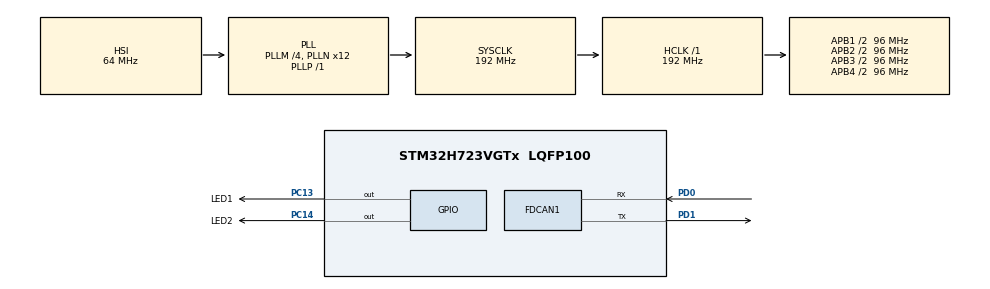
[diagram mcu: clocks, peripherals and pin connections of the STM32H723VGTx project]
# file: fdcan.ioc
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CORTEX_M7.default_mode_Activation=1
FDCAN1.CalculateBaudRateNominal=1000000
FDCAN1.CalculateTimeBitNominal=1000
FDCAN1.CalculateTimeQuantumNominal=83.33333333333333
FDCAN1.DataPrescaler=2
FDCAN1.DataTimeSeg1=8
FDCAN1.DataTimeSeg2=3
FDCAN1.NominalPrescaler=2
FDCAN1.NominalTimeSeg1=8
FDCAN1.NominalTimeSeg2=3
FDCAN1.ProtocolException=ENABLE
FDCAN1.RxFifo0ElmtsNbr=4
FDCAN1.StdFiltersNbr=1
FDCAN1.TxFifoQueueElmtsNbr=2
Mcu.Family=STM32H7
Mcu.Name=STM32H723VGTx
Mcu.Package=LQFP100
NVIC.FDCAN1_IT0_IRQn=true\:0\:0\:false\:false\:true\:true\:true\:true
NVIC.PriorityGroup=NVIC_PRIORITYGROUP_4
PC13.GPIO_Label=LED1
PC13.PinState=GPIO_PIN_SET
PC13.Signal=GPIO_Output
PC14-OSC32_IN.GPIO_Label=LED2
PC14-OSC32_IN.PinState=GPIO_PIN_SET
PC14-OSC32_IN.Signal=GPIO_Output
PD0.Mode=FDCAN_Activate
PD0.Signal=FDCAN1_RX
PD1.Mode=FDCAN_Activate
PD1.Signal=FDCAN1_TX
PH0-OSC_IN.Mode=HSE-External-Oscillator
PH0-OSC_IN.Signal=RCC_OSC_IN
PH1-OSC_OUT.Mode=HSE-External-Oscillator
PH1-OSC_OUT.Signal=RCC_OSC_OUT
ProjectManager.HeapSize=0x200
ProjectManager.StackSize=0x400
ProjectManager.TargetToolchain=STM32CubeIDE
RCC.ADCFreq_Value=129000000
RCC.APB1Freq_Value=96000000
RCC.APB2Freq_Value=96000000
RCC.APB3Freq_Value=96000000
RCC.APB4Freq_Value=96000000
RCC.CortexFreq_Value=192000000
RCC.D1PPRE=RCC_APB3_DIV2
RCC.D2PPRE1=RCC_APB1_DIV2
RCC.D2PPRE2=RCC_APB2_DIV2
RCC.D3PPRE=RCC_APB4_DIV2
RCC.DIVM1=4
RCC.DIVN1=12
RCC.DIVP1=1
RCC.FDCANCLockSelection=RCC_FDCANCLKSOURCE_HSE
RCC.HCLKFreq_Value=192000000
RCC.HSE_VALUE=24000000
RCC.PLLFRACN=0
RCC.SYSCLKFreq_VALUE=192000000
RCC.SYSCLKSource=RCC_SYSCLKSOURCE_PLLCLK
RCC.USBFreq_Value=96000000
VP_MEMORYMAP_VS_MEMORYMAP.Mode=CurAppReg
board=custom

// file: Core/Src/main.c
/* USER CODE BEGIN Header */
/**
  ******************************************************************************
  * @file           : main.c
  * @brief          : Main program body
  ******************************************************************************
  * @attention
  *
  * Copyright (c) 2025 STMicroelectronics.
  * All rights reserved.
  *
  * This software is licensed under terms that can be found in the LICENSE file
  * in the root directory of this software component.
  * If no LICENSE file comes with this software, it is provided AS-IS.
  *
  ******************************************************************************
  */
/* USER CODE END Header */
#include "main.h"
#include "fdcan.h"
#include "gpio.h"

/* USER CODE BEGIN PV */
uint8_t send_current_data[8] = {0};
/* USER CODE END PV */

void SystemClock_Config(void);
static void MPU_Config(void);

/* USER CODE BEGIN 0 */

void CAN_Transmit(FDCAN_HandleTypeDef *hfdcan, uint32_t Id, uint8_t *msg, uint16_t len) {
  FDCAN_TxHeaderTypeDef tx_header; ///< 定义发送数据结构体

  tx_header.IdType = FDCAN_STANDARD_ID;
  tx_header.TxFrameType = FDCAN_DATA_FRAME;
  tx_header.ErrorStateIndicator = FDCAN_ESI_ACTIVE;
  tx_header.BitRateSwitch = FDCAN_BRS_OFF;
  tx_header.FDFormat = FDCAN_CLASSIC_CAN;
  tx_header.TxEventFifoControl = FDCAN_NO_TX_EVENTS;
  tx_header.MessageMarker = 0;

  tx_header.Identifier = Id;
  tx_header.DataLength = len;

  HAL_FDCAN_AddMessageToTxFifoQ(hfdcan, &tx_header, msg); ///< 发送数据

}
/* USER CODE END 0 */

int main(void)
{

  /* MPU Configuration--------------------------------------------------------*/
  MPU_Config();

  /* MCU Configuration--------------------------------------------------------*/

  /* Reset of all peripherals, Initializes the Flash interface and the Systick. */
  HAL_Init();

  /* Configure the system clock */
  SystemClock_Config();

  /* Initialize all configured peripherals */
  MX_GPIO_Init();
  MX_FDCAN1_Init();
  /* USER CODE BEGIN 2 */
  // CAN Filter Configuration
  FDCAN_FilterTypeDef FDCAN_FilterConfig;

  FDCAN_FilterConfig.IdType = FDCAN_STANDARD_ID;
  FDCAN_FilterConfig.FilterIndex = 0;
  FDCAN_FilterConfig.FilterType = FDCAN_FILTER_MASK;
  FDCAN_FilterConfig.FilterConfig = FDCAN_FILTER_TO_RXFIFO0;
  FDCAN_FilterConfig.FilterID1 = 0x00000000;
  FDCAN_FilterConfig.FilterID2 = 0x00000000;

  HAL_FDCAN_ConfigFilter(&hfdcan1, &FDCAN_FilterConfig);
  HAL_FDCAN_ConfigGlobalFilter(&hfdcan1, FDCAN_REJECT, FDCAN_REJECT, FDCAN_FILTER_REMOTE, FDCAN_FILTER_REMOTE);
  HAL_FDCAN_ActivateNotification(&hfdcan1, FDCAN_IT_RX_FIFO0_NEW_MESSAGE, 0);
  HAL_FDCAN_Start(&hfdcan1);

  //发送的电流包，一个包能发送4个电机的电流值，每个电机电流值的类型为int16_t,通过移位操作拆成两个uint8_t传输
  int16_t motor_current = 2000;

  //进行数据填充与移位，其中后三个电机电流给0
  send_current_data[0] = motor_current >> 8;
  send_current_data[1] = motor_current;
  for (int i = 2; i <= 6; i++) {
    send_current_data[i] = 0;
  }

  /* USER CODE END 2 */

  /* Infinite loop */
  /* USER CODE BEGIN WHILE */
  while (1)
  {

    CAN_Transmit(&hfdcan1, 0x1FF, send_current_data, 8);
    HAL_Delay(1);

    /* USER CODE END WHILE */

  }
}

void SystemClock_Config(void)
{
  RCC_OscInitTypeDef RCC_OscInitStruct = {0};
  RCC_ClkInitTypeDef RCC_ClkInitStruct = {0};

  /** Supply configuration update enable
  */
  HAL_PWREx_ConfigSupply(PWR_LDO_SUPPLY);

  /** Configure the main internal regulator output voltage
  */
  __HAL_PWR_VOLTAGESCALING_CONFIG(PWR_REGULATOR_VOLTAGE_SCALE1);

  while(!__HAL_PWR_GET_FLAG(PWR_FLAG_VOSRDY)) {}

  /** Initializes the RCC Oscillators according to the specified parameters
  * in the RCC_OscInitTypeDef structure.
  */
  RCC_OscInitStruct.OscillatorType = RCC_OSCILLATORTYPE_HSI|RCC_OSCILLATORTYPE_HSE;
  RCC_OscInitStruct.HSEState = RCC_HSE_ON;
  RCC_OscInitStruct.HSIState = RCC_HSI_DIV1;
  RCC_OscInitStruct.HSICalibrationValue = 64;
  RCC_OscInitStruct.PLL.PLLState = RCC_PLL_ON;
  RCC_OscInitStruct.PLL.PLLSource = RCC_PLLSOURCE_HSI;
  RCC_OscInitStruct.PLL.PLLM = 4;
  RCC_OscInitStruct.PLL.PLLN = 12;
  RCC_OscInitStruct.PLL.PLLP = 1;
  RCC_OscInitStruct.PLL.PLLQ = 2;
  RCC_OscInitStruct.PLL.PLLR = 2;
  RCC_OscInitStruct.PLL.PLLRGE = RCC_PLL1VCIRANGE_3;
  RCC_OscInitStruct.PLL.PLLVCOSEL = RCC_PLL1VCOWIDE;
  RCC_OscInitStruct.PLL.PLLFRACN = 0;
  if (HAL_RCC_OscConfig(&RCC_OscInitStruct) != HAL_OK)
  {
    Error_Handler();
  }

  /** Initializes the CPU, AHB and APB buses clocks
  */
  RCC_ClkInitStruct.ClockType = RCC_CLOCKTYPE_HCLK|RCC_CLOCKTYPE_SYSCLK
                              |RCC_CLOCKTYPE_PCLK1|RCC_CLOCKTYPE_PCLK2
                              |RCC_CLOCKTYPE_D3PCLK1|RCC_CLOCKTYPE_D1PCLK1;
  RCC_ClkInitStruct.SYSCLKSource = RCC_SYSCLKSOURCE_PLLCLK;
  RCC_ClkInitStruct.SYSCLKDivider = RCC_SYSCLK_DIV1;
  RCC_ClkInitStruct.AHBCLKDivider = RCC_HCLK_DIV1;
  RCC_ClkInitStruct.APB3CLKDivider = RCC_APB3_DIV2;
  RCC_ClkInitStruct.APB1CLKDivider = RCC_APB1_DIV2;
  RCC_ClkInitStruct.APB2CLKDivider = RCC_APB2_DIV2;
  RCC_ClkInitStruct.APB4CLKDivider = RCC_APB4_DIV2;

  if (HAL_RCC_ClockConfig(&RCC_ClkInitStruct, FLASH_LATENCY_2) != HAL_OK)
  {
    Error_Handler();
  }
}

 /* MPU Configuration */

void MPU_Config(void)
{
  MPU_Region_InitTypeDef MPU_InitStruct = {0};

  /* Disables the MPU */
  HAL_MPU_Disable();

  /** Initializes and configures the Region and the memory to be protected
  */
  MPU_InitStruct.Enable = MPU_REGION_ENABLE;
  MPU_InitStruct.Number = MPU_REGION_NUMBER0;
  MPU_InitStruct.BaseAddress = 0x0;
  MPU_InitStruct.Size = MPU_REGION_SIZE_4GB;
  MPU_InitStruct.SubRegionDisable = 0x87;
  MPU_InitStruct.TypeExtField = MPU_TEX_LEVEL0;
  MPU_InitStruct.AccessPermission = MPU_REGION_NO_ACCESS;
  MPU_InitStruct.DisableExec = MPU_INSTRUCTION_ACCESS_DISABLE;
  MPU_InitStruct.IsShareable = MPU_ACCESS_SHAREABLE;
  MPU_InitStruct.IsCacheable = MPU_ACCESS_NOT_CACHEABLE;
  MPU_InitStruct.IsBufferable = MPU_ACCESS_NOT_BUFFERABLE;

  HAL_MPU_ConfigRegion(&MPU_InitStruct);
  /* Enables the MPU */
  HAL_MPU_Enable(MPU_PRIVILEGED_DEFAULT);

}

void Error_Handler(void)
{
  __disable_irq();
  while (1)
  {
  }
}
